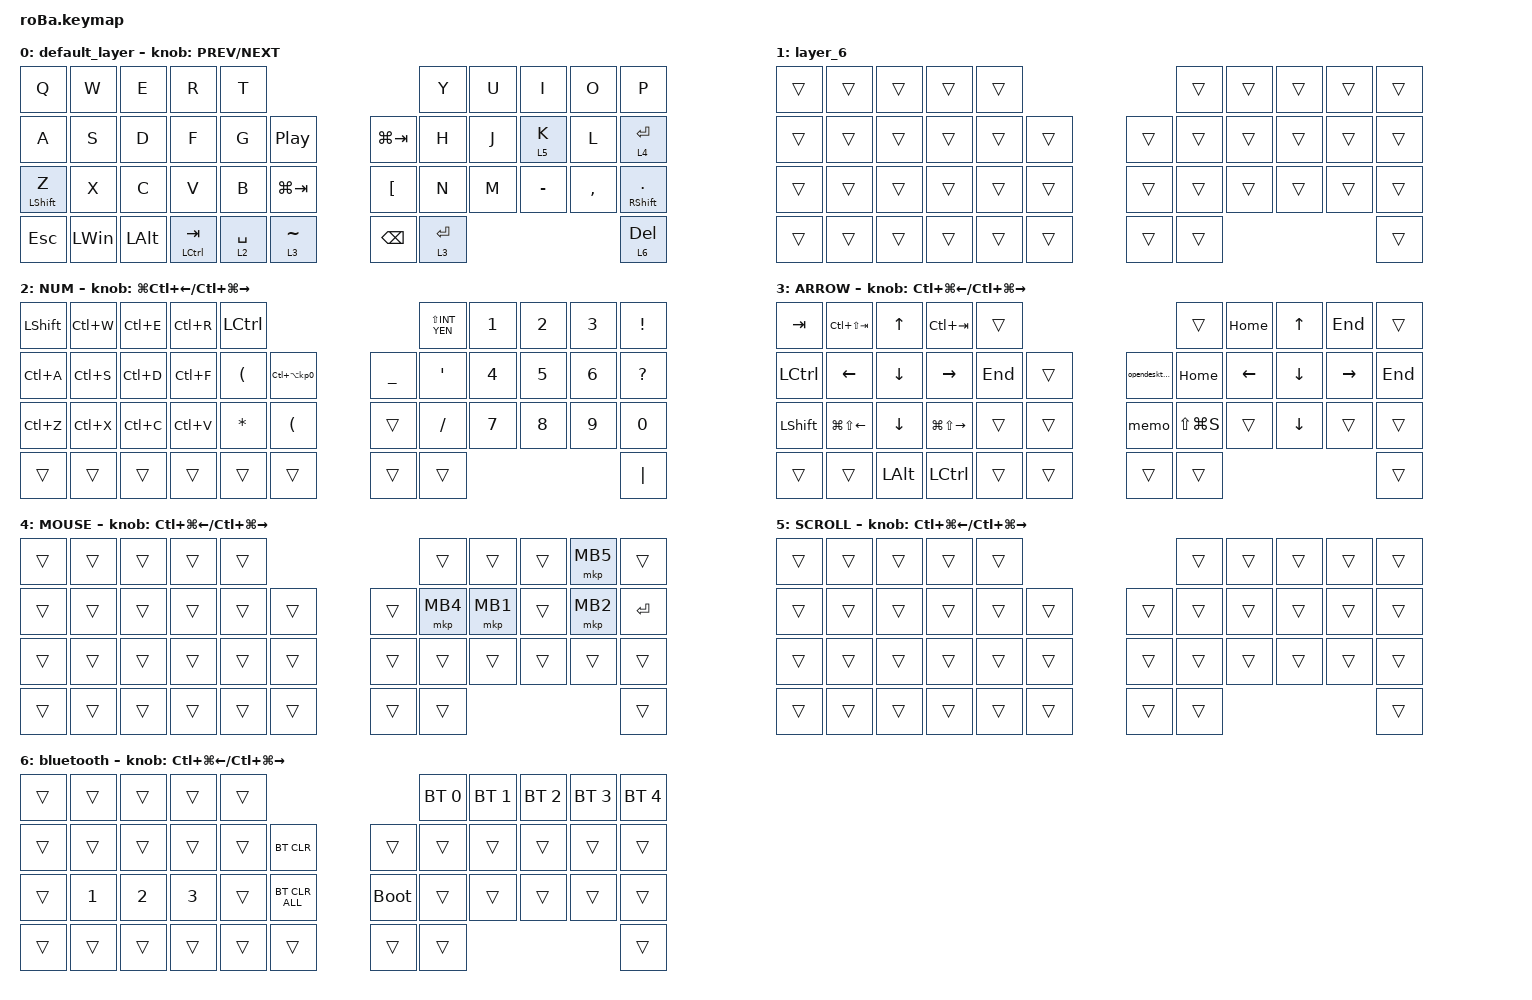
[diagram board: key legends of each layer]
#include <input/processors.dtsi>
#include <behaviors.dtsi>
#include <dt-bindings/zmk/bt.h>
#include <dt-bindings/zmk/keys.h>
#include <dt-bindings/zmk/pointing.h>

&mt {
    flavor = "balanced";
    quick-tap-ms = <0>;
};

&trackball {
    automouse-layer = <4>;
    scroll-layers = <5>;

    // arrows {
    //      layers = <3>;
    //      bindings =
    //          <&kp RIGHT_ARROW>,
    //          <&kp LEFT_ARROW>,
    //          <&kp UP_ARROW>,
    //          <&kp DOWN_ARROW>;
    //      tick = <10>;
    //      wait-ms = <5>;
    //      tap-ms = <5>;
    // };
};

/ {
    combos {
        compatible = "zmk,combos";

        right {
            bindings = <&kp LC(LG(RIGHT))>;
            key-positions = <32 33>;
        };

        left {
            bindings = <&kp LC(LG(LEFT))>;
            key-positions = <31 30>;
        };

        tab {
            bindings = <&kp TAB>;
            key-positions = <10 11>;
        };
    };

    macros {
        to_layer_0: to_layer_0 {
            compatible = "zmk,behavior-macro-one-param";
            #binding-cells = <1>;
            bindings = <&to 0 &macro_param_1to1 &kp MACRO_PLACEHOLDER>;
            label = "TO_LAYER_0";
        };

        opendesktop: opendesktop {
            compatible = "zmk,behavior-macro";
            #binding-cells = <0>;
            bindings =
                <&kp LG(R)>,
                <&macro_wait_time 100>,
                <&kp S &kp H &kp E &kp L &kp L &kp SQT &kp D &kp E &kp S &kp K &kp T &kp O &kp P &kp ENTER>;

            label = "OPENDESKTOP";
        };

        memo: memo {
            compatible = "zmk,behavior-macro";
            #binding-cells = <0>;
            bindings =
                <&kp LG(R)>,
                <&macro_wait_time 100>,
                <&kp N &kp O &kp T &kp E &kp P &kp A &kp D &kp ENTER>;

            label = "MEMO";
        };
    };

    behaviors {
        lt_to_layer_0: lt_to_layer_0 {
            compatible = "zmk,behavior-hold-tap";
            label = "LAYER_TAP_TO_0";
            bindings = <&mo>, <&to_layer_0>;

            #binding-cells = <2>;
            tapping-term-ms = <200>;
        };
    };

    keymap {
        compatible = "zmk,keymap";

        default_layer {
            bindings = <
&kp Q             &kp W         &kp E         &kp R                 &kp T                                                      &kp Y        &kp U  &kp I      &kp O      &kp P
&kp A             &kp S         &kp D         &kp F                 &kp G        &kp C_PLAY_PAUSE            &kp LG(TAB)       &kp H        &kp J  &lt 5 K    &kp L      &lt 4 ENTER
&mt LEFT_SHIFT Z  &kp X         &kp C         &kp V                 &kp B        &kp LG(TAB)                 &kp LEFT_BRACKET  &kp N        &kp M  &kp MINUS  &kp COMMA  &mt RIGHT_SHIFT PERIOD
&kp ESCAPE        &kp LEFT_WIN  &kp LEFT_ALT  &mt LEFT_CONTROL TAB  &lt 2 SPACE  &lt_to_layer_0 3 TILDE      &kp BACKSPACE     &lt 3 ENTER                               &lt 6 DEL
            >;

            sensor-bindings = <&inc_dec_kp C_PREV C_NEXT>;
        };

        layer_6 {
            bindings = <
&trans  &trans  &trans  &trans  &trans                      &trans  &trans  &trans  &trans  &trans
&trans  &trans  &trans  &trans  &trans  &trans      &trans  &trans  &trans  &trans  &trans  &trans
&trans  &trans  &trans  &trans  &trans  &trans      &trans  &trans  &trans  &trans  &trans  &trans
&trans  &trans  &trans  &trans  &trans  &trans      &trans  &trans                          &trans
            >;
        };

        NUM {
            bindings = <
&kp LEFT_SHIFT  &kp LC(W)  &kp LC(E)  &kp LC(R)  &kp LEFT_CONTROL                                                   &kp LS(INT_YEN)  &kp NUMBER_1  &kp NUMBER_2  &kp NUMBER_3  &kp EXCLAMATION
&kp LC(A)       &kp LC(S)  &kp LC(D)  &kp LC(F)  &kp LEFT_PARENTHESIS  &kp LC(LA(KP_NUMBER_0))      &kp UNDERSCORE  &kp SQT          &kp NUMBER_4  &kp NUMBER_5  &kp NUMBER_6  &kp QUESTION
&kp LC(Z)       &kp LC(X)  &kp LC(C)  &kp LC(V)  &kp ASTRK             &kp LEFT_PARENTHESIS         &trans          &kp SLASH        &kp NUMBER_7  &kp NUMBER_8  &kp NUMBER_9  &kp NUMBER_0
&trans          &trans     &trans     &trans     &trans                &trans                       &trans          &trans                                                     &kp PIPE
            >;

            sensor-bindings = <&inc_dec_kp LG(LC(LEFT)) LC(LG(RIGHT))>;
        };

        ARROW {
            bindings = <
&kp TAB           &kp LC(LS(TAB))         &kp UP_ARROW    &kp LC(TAB)              &trans                             &trans         &kp HOME        &kp UP_ARROW    &kp END          &trans
&kp LEFT_CONTROL  &kp LEFT_ARROW          &kp DOWN_ARROW  &kp RIGHT_ARROW          &kp END  &trans      &opendesktop  &kp HOME       &kp LEFT_ARROW  &kp DOWN_ARROW  &kp RIGHT_ARROW  &kp END
&kp LEFT_SHIFT    &kp LG(LS(LEFT_ARROW))  &kp DOWN_ARROW  &kp LG(LS(RIGHT_ARROW))  &trans   &trans      &memo         &kp LS(LG(S))  &trans          &kp DOWN_ARROW  &trans           &trans
&trans            &trans                  &kp LEFT_ALT    &kp LEFT_CONTROL         &trans   &trans      &trans        &trans                                                          &trans
            >;

            sensor-bindings = <&inc_dec_kp LC(LG(LEFT)) LC(LG(RIGHT))>;
        };

        MOUSE {
            bindings = <
&trans  &trans  &trans  &trans  &trans                      &trans    &trans    &trans  &mkp MB5  &trans
&trans  &trans  &trans  &trans  &trans  &trans      &trans  &mkp MB4  &mkp MB1  &trans  &mkp MB2  &kp ENTER
&trans  &trans  &trans  &trans  &trans  &trans      &trans  &trans    &trans    &trans  &trans    &trans
&trans  &trans  &trans  &trans  &trans  &trans      &trans  &trans                                &trans
            >;

            sensor-bindings = <&inc_dec_kp LC(LG(LEFT)) LC(LG(RIGHT))>;
        };

        SCROLL {
            bindings = <
&trans  &trans  &trans  &trans  &trans                      &trans  &trans  &trans  &trans  &trans
&trans  &trans  &trans  &trans  &trans  &trans      &trans  &trans  &trans  &trans  &trans  &trans
&trans  &trans  &trans  &trans  &trans  &trans      &trans  &trans  &trans  &trans  &trans  &trans
&trans  &trans  &trans  &trans  &trans  &trans      &trans  &trans                          &trans
            >;

            sensor-bindings = <&inc_dec_kp LC(LG(LEFT_ARROW)) LC(LG(RIGHT))>;
        };

        bluetooth {
            bindings = <
&trans  &trans        &trans        &trans        &trans                                   &bt BT_SEL 0  &bt BT_SEL 1  &bt BT_SEL 2  &bt BT_SEL 3  &bt BT_SEL 4
&trans  &trans        &trans        &trans        &trans  &bt BT_CLR          &trans       &trans        &trans        &trans        &trans        &trans
&trans  &kp NUMBER_1  &kp NUMBER_2  &kp NUMBER_3  &trans  &bt BT_CLR_ALL      &bootloader  &trans        &trans        &trans        &trans        &trans
&trans  &trans        &trans        &trans        &trans  &trans              &trans       &trans                                                  &trans
            >;

            sensor-bindings = <&inc_dec_kp LC(LG(LEFT_ARROW)) LC(LG(RIGHT))>;
        };
    };
};
